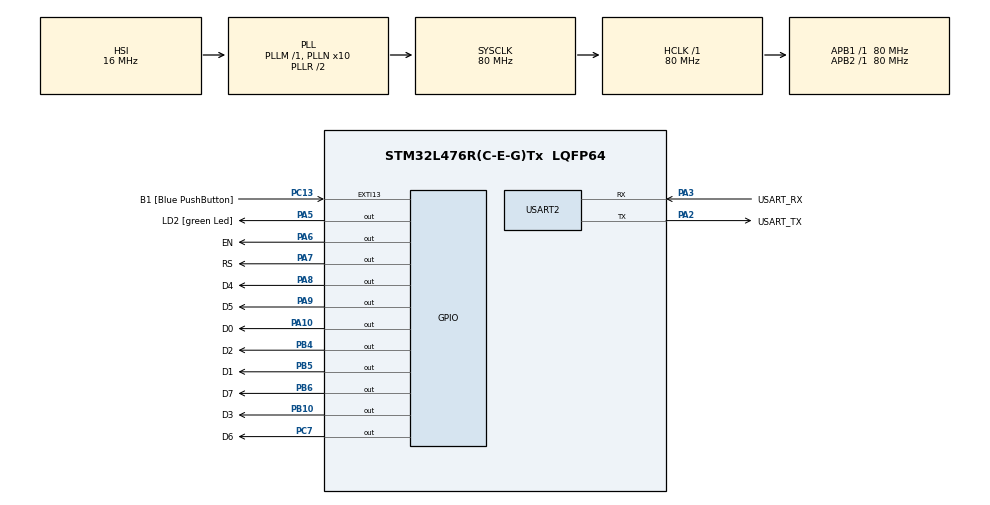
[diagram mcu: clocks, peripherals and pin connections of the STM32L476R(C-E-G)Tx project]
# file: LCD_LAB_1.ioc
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Mcu.Family=STM32L4
Mcu.Name=STM32L476R(C-E-G)Tx
Mcu.Package=LQFP64
NVIC.PriorityGroup=NVIC_PRIORITYGROUP_4
PA10.GPIO_Label=D0
PA10.Signal=GPIO_Output
PA13\ (JTMS-SWDIO).GPIO_Label=TMS
PA13\ (JTMS-SWDIO).Mode=Serial_Wire
PA13\ (JTMS-SWDIO).Signal=SYS_JTMS-SWDIO
PA14\ (JTCK-SWCLK).GPIO_Label=TCK
PA14\ (JTCK-SWCLK).Mode=Serial_Wire
PA14\ (JTCK-SWCLK).Signal=SYS_JTCK-SWCLK
PA2.GPIO_Label=USART_TX
PA2.GPIO_Mode=GPIO_MODE_AF_PP
PA2.GPIO_PuPd=GPIO_NOPULL
PA2.GPIO_Speed=GPIO_SPEED_FREQ_VERY_HIGH
PA2.Mode=Asynchronous
PA2.Signal=USART2_TX
PA3.GPIO_Label=USART_RX
PA3.GPIO_Mode=GPIO_MODE_AF_PP
PA3.GPIO_PuPd=GPIO_NOPULL
PA3.GPIO_Speed=GPIO_SPEED_FREQ_VERY_HIGH
PA3.Mode=Asynchronous
PA3.Signal=USART2_RX
PA5.GPIO_Label=LD2 [green Led]
PA5.GPIO_ModeDefaultOutputPP=GPIO_MODE_OUTPUT_PP
PA5.GPIO_PuPd=GPIO_NOPULL
PA5.GPIO_Speed=GPIO_SPEED_FREQ_LOW
PA5.Signal=GPIO_Output
PA6.GPIO_Label=EN
PA6.Signal=GPIO_Output
PA7.GPIO_Label=RS
PA7.Signal=GPIO_Output
PA8.GPIO_Label=D4
PA8.Signal=GPIO_Output
PA9.GPIO_Label=D5
PA9.Signal=GPIO_Output
PB10.GPIO_Label=D3
PB10.Signal=GPIO_Output
PB3\ (JTDO-TRACESWO).GPIO_Label=SWO
PB3\ (JTDO-TRACESWO).Signal=SYS_JTDO-SWO
PB4\ (NJTRST).GPIO_Label=D2
PB4\ (NJTRST).Signal=GPIO_Output
PB5.GPIO_Label=D1
PB5.Signal=GPIO_Output
PB6.GPIO_Label=D7
PB6.Signal=GPIO_Output
PC13.GPIO_Label=B1 [Blue PushButton]
PC13.GPIO_ModeDefaultEXTI=GPIO_MODE_IT_FALLING
PC13.GPIO_PuPd=GPIO_NOPULL
PC13.Signal=GPXTI13
PC14-OSC32_IN\ (PC14).Mode=LSE-External-Oscillator
PC14-OSC32_IN\ (PC14).Signal=RCC_OSC32_IN
PC15-OSC32_OUT\ (PC15).Mode=LSE-External-Oscillator
PC15-OSC32_OUT\ (PC15).Signal=RCC_OSC32_OUT
PC7.GPIO_Label=D6
PC7.Signal=GPIO_Output
PH0-OSC_IN\ (PH0).Signal=RCC_OSC_IN
PH1-OSC_OUT\ (PH1).Signal=RCC_OSC_OUT
ProjectManager.HeapSize=0x200
ProjectManager.StackSize=0x400
ProjectManager.TargetToolchain=STM32CubeIDE
RCC.ADCFreq_Value=64000000
RCC.AHBFreq_Value=80000000
RCC.APB1Freq_Value=80000000
RCC.APB1TimFreq_Value=80000000
RCC.APB2Freq_Value=80000000
RCC.APB2TimFreq_Value=80000000
RCC.CortexFreq_Value=80000000
RCC.HCLKFreq_Value=80000000
RCC.HSE_VALUE=8000000
RCC.HSI_VALUE=16000000
RCC.MSI_VALUE=4000000
RCC.PLLN=10
RCC.PLLSourceVirtual=RCC_PLLSOURCE_HSI
RCC.PREFETCH_ENABLE=1
RCC.SYSCLKFreq_VALUE=80000000
RCC.SYSCLKSource=RCC_SYSCLKSOURCE_PLLCLK
RCC.USBFreq_Value=64000000
RCC.VCOOutputFreq_Value=160000000
USART2.VirtualMode-Asynchronous=VM_ASYNC
board=NUCLEO-L476RG

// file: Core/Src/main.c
/* USER CODE BEGIN Header */
/**
  ******************************************************************************
  * @file           : main.c
  * @brief          : Main program body
  ******************************************************************************
  * @attention
  *
  * <h2><center>&copy; Copyright (c) 2021 STMicroelectronics.
  * All rights reserved.</center></h2>
  *
  * This software component is licensed by ST under BSD 3-Clause license,
  * the "License"; You may not use this file except in compliance with the
  * License. You may obtain a copy of the License at:
  *                        opensource.org/licenses/BSD-3-Clause
  *
  ******************************************************************************
  */
/* USER CODE END Header */
#include "main.h"

/* USER CODE BEGIN Includes */
#include "LCD.h"
/* USER CODE END Includes */

UART_HandleTypeDef huart2;

void SystemClock_Config(void);
static void MX_GPIO_Init(void);
static void MX_USART2_UART_Init(void);

int main(void)
{

  /* MCU Configuration--------------------------------------------------------*/

  /* Reset of all peripherals, Initializes the Flash interface and the Systick. */
  HAL_Init();

  /* Configure the system clock */
  SystemClock_Config();

  /* Initialize all configured peripherals */
  MX_GPIO_Init();
  MX_USART2_UART_Init();
  /* USER CODE BEGIN 2 */
  Lcd_PortType ports[] = {
  	D0_GPIO_Port, D1_GPIO_Port, D2_GPIO_Port, D3_GPIO_Port,
  	D4_GPIO_Port, D5_GPIO_Port, D6_GPIO_Port, D7_GPIO_Port
  };

  Lcd_PinType pins[] = {D0_Pin, D1_Pin, D2_Pin, D3_Pin, D4_Pin, D5_Pin, D6_Pin, D7_Pin};

  Lcd_HandleTypeDef lcd;

  lcd = Lcd_create(ports, pins, RS_GPIO_Port, RS_Pin, EN_GPIO_Port, EN_Pin, LCD_8_BIT_MODE);

  Lcd_string(&lcd, "4ilo - 8bit");

  Lcd_cursor(&lcd, 1,6);
  Lcd_int(&lcd, -500);
  /* USER CODE END 2 */

  /* Infinite loop */
  /* USER CODE BEGIN WHILE */
  while (1)
  {
	  	  Lcd_clear(&lcd);
	  	  Lcd_string(&lcd, "Hello World");
		  HAL_Delay(3000);
		  Lcd_clear(&lcd);
		  Lcd_string(&lcd, "4ilo");
		  HAL_Delay(3000);

    /* USER CODE END WHILE */

  }
}

void SystemClock_Config(void)
{
  RCC_OscInitTypeDef RCC_OscInitStruct = {0};
  RCC_ClkInitTypeDef RCC_ClkInitStruct = {0};
  RCC_PeriphCLKInitTypeDef PeriphClkInit = {0};

  /** Initializes the RCC Oscillators according to the specified parameters
  * in the RCC_OscInitTypeDef structure.
  */
  RCC_OscInitStruct.OscillatorType = RCC_OSCILLATORTYPE_HSI;
  RCC_OscInitStruct.HSIState = RCC_HSI_ON;
  RCC_OscInitStruct.HSICalibrationValue = RCC_HSICALIBRATION_DEFAULT;
  RCC_OscInitStruct.PLL.PLLState = RCC_PLL_ON;
  RCC_OscInitStruct.PLL.PLLSource = RCC_PLLSOURCE_HSI;
  RCC_OscInitStruct.PLL.PLLM = 1;
  RCC_OscInitStruct.PLL.PLLN = 10;
  RCC_OscInitStruct.PLL.PLLP = RCC_PLLP_DIV7;
  RCC_OscInitStruct.PLL.PLLQ = RCC_PLLQ_DIV2;
  RCC_OscInitStruct.PLL.PLLR = RCC_PLLR_DIV2;
  if (HAL_RCC_OscConfig(&RCC_OscInitStruct) != HAL_OK)
  {
    Error_Handler();
  }
  /** Initializes the CPU, AHB and APB buses clocks
  */
  RCC_ClkInitStruct.ClockType = RCC_CLOCKTYPE_HCLK|RCC_CLOCKTYPE_SYSCLK
                              |RCC_CLOCKTYPE_PCLK1|RCC_CLOCKTYPE_PCLK2;
  RCC_ClkInitStruct.SYSCLKSource = RCC_SYSCLKSOURCE_PLLCLK;
  RCC_ClkInitStruct.AHBCLKDivider = RCC_SYSCLK_DIV1;
  RCC_ClkInitStruct.APB1CLKDivider = RCC_HCLK_DIV1;
  RCC_ClkInitStruct.APB2CLKDivider = RCC_HCLK_DIV1;

  if (HAL_RCC_ClockConfig(&RCC_ClkInitStruct, FLASH_LATENCY_4) != HAL_OK)
  {
    Error_Handler();
  }
  PeriphClkInit.PeriphClockSelection = RCC_PERIPHCLK_USART2;
  PeriphClkInit.Usart2ClockSelection = RCC_USART2CLKSOURCE_PCLK1;
  if (HAL_RCCEx_PeriphCLKConfig(&PeriphClkInit) != HAL_OK)
  {
    Error_Handler();
  }
  /** Configure the main internal regulator output voltage
  */
  if (HAL_PWREx_ControlVoltageScaling(PWR_REGULATOR_VOLTAGE_SCALE1) != HAL_OK)
  {
    Error_Handler();
  }
}

static void MX_USART2_UART_Init(void)
{

  huart2.Instance = USART2;
  huart2.Init.BaudRate = 115200;
  huart2.Init.WordLength = UART_WORDLENGTH_8B;
  huart2.Init.StopBits = UART_STOPBITS_1;
  huart2.Init.Parity = UART_PARITY_NONE;
  huart2.Init.Mode = UART_MODE_TX_RX;
  huart2.Init.HwFlowCtl = UART_HWCONTROL_NONE;
  huart2.Init.OverSampling = UART_OVERSAMPLING_16;
  huart2.Init.OneBitSampling = UART_ONE_BIT_SAMPLE_DISABLE;
  huart2.AdvancedInit.AdvFeatureInit = UART_ADVFEATURE_NO_INIT;
  if (HAL_UART_Init(&huart2) != HAL_OK)
  {
    Error_Handler();
  }

}

static void MX_GPIO_Init(void)
{
  GPIO_InitTypeDef GPIO_InitStruct = {0};

  /* GPIO Ports Clock Enable */
  __HAL_RCC_GPIOC_CLK_ENABLE();
  __HAL_RCC_GPIOH_CLK_ENABLE();
  __HAL_RCC_GPIOA_CLK_ENABLE();
  __HAL_RCC_GPIOB_CLK_ENABLE();

  /*Configure GPIO pin Output Level */
  HAL_GPIO_WritePin(GPIOA, LD2_Pin|EN_Pin|RS_Pin|D4_Pin
                          |D5_Pin|D0_Pin, GPIO_PIN_RESET);

  /*Configure GPIO pin Output Level */
  HAL_GPIO_WritePin(GPIOB, D3_Pin|D2_Pin|D1_Pin|D7_Pin, GPIO_PIN_RESET);

  /*Configure GPIO pin Output Level */
  HAL_GPIO_WritePin(D6_GPIO_Port, D6_Pin, GPIO_PIN_RESET);

  /*Configure GPIO pin : B1_Pin */
  GPIO_InitStruct.Pin = B1_Pin;
  GPIO_InitStruct.Mode = GPIO_MODE_IT_FALLING;
  GPIO_InitStruct.Pull = GPIO_NOPULL;
  HAL_GPIO_Init(B1_GPIO_Port, &GPIO_InitStruct);

  /*Configure GPIO pins : LD2_Pin EN_Pin RS_Pin D4_Pin
                           D5_Pin D0_Pin */
  GPIO_InitStruct.Pin = LD2_Pin|EN_Pin|RS_Pin|D4_Pin
                          |D5_Pin|D0_Pin;
  GPIO_InitStruct.Mode = GPIO_MODE_OUTPUT_PP;
  GPIO_InitStruct.Pull = GPIO_NOPULL;
  GPIO_InitStruct.Speed = GPIO_SPEED_FREQ_LOW;
  HAL_GPIO_Init(GPIOA, &GPIO_InitStruct);

  /*Configure GPIO pins : D3_Pin D2_Pin D1_Pin D7_Pin */
  GPIO_InitStruct.Pin = D3_Pin|D2_Pin|D1_Pin|D7_Pin;
  GPIO_InitStruct.Mode = GPIO_MODE_OUTPUT_PP;
  GPIO_InitStruct.Pull = GPIO_NOPULL;
  GPIO_InitStruct.Speed = GPIO_SPEED_FREQ_LOW;
  HAL_GPIO_Init(GPIOB, &GPIO_InitStruct);

  /*Configure GPIO pin : D6_Pin */
  GPIO_InitStruct.Pin = D6_Pin;
  GPIO_InitStruct.Mode = GPIO_MODE_OUTPUT_PP;
  GPIO_InitStruct.Pull = GPIO_NOPULL;
  GPIO_InitStruct.Speed = GPIO_SPEED_FREQ_LOW;
  HAL_GPIO_Init(D6_GPIO_Port, &GPIO_InitStruct);

}

void Error_Handler(void)
{
  __disable_irq();
  while (1)
  {
  }
}

/************************ (C) COPYRIGHT STMicroelectronics *****END OF FILE****/
